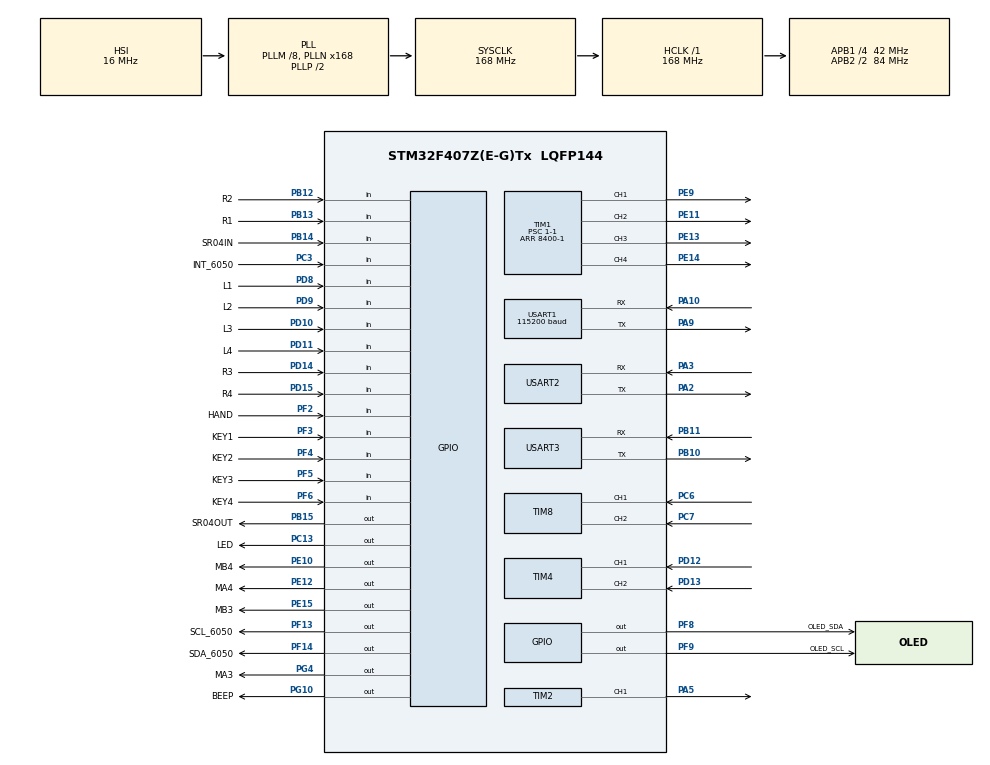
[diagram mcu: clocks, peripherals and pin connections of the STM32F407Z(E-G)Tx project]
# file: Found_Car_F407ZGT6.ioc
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Dma.Request0=TIM2_CH1
Dma.TIM2_CH1.0.Direction=DMA_MEMORY_TO_PERIPH
Dma.TIM2_CH1.0.FIFOMode=DMA_FIFOMODE_DISABLE
Dma.TIM2_CH1.0.Instance=DMA1_Stream5
Dma.TIM2_CH1.0.MemDataAlignment=DMA_MDATAALIGN_WORD
Dma.TIM2_CH1.0.MemInc=DMA_MINC_ENABLE
Dma.TIM2_CH1.0.Mode=DMA_CIRCULAR
Dma.TIM2_CH1.0.PeriphDataAlignment=DMA_PDATAALIGN_WORD
Dma.TIM2_CH1.0.PeriphInc=DMA_PINC_DISABLE
Dma.TIM2_CH1.0.Priority=DMA_PRIORITY_LOW
Mcu.Family=STM32F4
Mcu.Name=STM32F407Z(E-G)Tx
Mcu.Package=LQFP144
NVIC.DMA1_Stream5_IRQn=true\:0\:0\:false\:false\:true\:false\:true\:true
NVIC.PriorityGroup=NVIC_PRIORITYGROUP_4
NVIC.TIM8_TRG_COM_TIM14_IRQn=true\:2\:0\:true\:false\:true\:true\:true\:true
NVIC.TIM8_UP_TIM13_IRQn=true\:0\:0\:false\:false\:true\:true\:true\:true
NVIC.USART1_IRQn=true\:0\:0\:true\:false\:true\:true\:true\:true
NVIC.USART2_IRQn=true\:0\:0\:true\:false\:true\:true\:true\:true
NVIC.USART3_IRQn=true\:0\:0\:true\:false\:true\:true\:true\:true
PA10.Mode=Asynchronous
PA10.Signal=USART1_RX
PA13.Mode=JTAG_4_pins
PA13.Signal=SYS_JTMS-SWDIO
PA14.Mode=JTAG_4_pins
PA14.Signal=SYS_JTCK-SWCLK
PA15.Mode=JTAG_4_pins
PA15.Signal=SYS_JTDI
PA2.Mode=Asynchronous
PA2.Signal=USART2_TX
PA3.Mode=Asynchronous
PA3.Signal=USART2_RX
PA5.Signal=S_TIM2_CH1_ETR
PA9.Mode=Asynchronous
PA9.Signal=USART1_TX
PB10.Mode=Asynchronous
PB10.Signal=USART3_TX
PB11.Mode=Asynchronous
PB11.Signal=USART3_RX
PB12.GPIO_Label=R2
PB12.Signal=GPIO_Input
PB13.GPIO_Label=R1
PB13.Signal=GPIO_Input
PB14.GPIO_Label=SR04IN
PB14.GPIO_PuPd=GPIO_PULLUP
PB14.Signal=GPIO_Input
PB15.GPIO_Label=SR04OUT
PB15.GPIO_Speed=GPIO_SPEED_FREQ_VERY_HIGH
PB15.Signal=GPIO_Output
PB3.Mode=JTAG_4_pins
PB3.Signal=SYS_JTDO-SWO
PC13-ANTI_TAMP.GPIO_Label=LED
PC13-ANTI_TAMP.Signal=GPIO_Output
PC14-OSC32_IN.Mode=LSE-External-Oscillator
PC14-OSC32_IN.Signal=RCC_OSC32_IN
PC15-OSC32_OUT.Mode=LSE-External-Oscillator
PC15-OSC32_OUT.Signal=RCC_OSC32_OUT
PC3.GPIO_Label=INT_6050
PC3.Signal=GPIO_Input
PC6.Signal=S_TIM8_CH1
PC7.Signal=S_TIM8_CH2
PD10.GPIO_Label=L3
PD10.Signal=GPIO_Input
PD11.GPIO_Label=L4
PD11.Signal=GPIO_Input
PD12.Signal=S_TIM4_CH1
PD13.Signal=S_TIM4_CH2
PD14.GPIO_Label=R3
PD14.Signal=GPIO_Input
PD15.GPIO_Label=R4
PD15.Signal=GPIO_Input
PD8.GPIO_Label=L1
PD8.Signal=GPIO_Input
PD9.GPIO_Label=L2
PD9.Signal=GPIO_Input
PE10.GPIO_Label=MB4
PE10.GPIO_Speed=GPIO_SPEED_FREQ_VERY_HIGH
PE10.Signal=GPIO_Output
PE11.Signal=S_TIM1_CH2
PE12.GPIO_Label=MA4
PE12.GPIO_Speed=GPIO_SPEED_FREQ_VERY_HIGH
PE12.PinState=GPIO_PIN_SET
PE12.Signal=GPIO_Output
PE13.Signal=S_TIM1_CH3
PE14.Signal=S_TIM1_CH4
PE15.GPIO_Label=MB3
PE15.GPIO_Speed=GPIO_SPEED_FREQ_VERY_HIGH
PE15.PinState=GPIO_PIN_SET
PE15.Signal=GPIO_Output
PE9.Signal=S_TIM1_CH1
PF13.GPIO_Label=SCL_6050
PF13.GPIO_ModeDefaultOutputPP=GPIO_MODE_OUTPUT_OD
PF13.GPIO_PuPd=GPIO_PULLUP
PF13.GPIO_Speed=GPIO_SPEED_FREQ_VERY_HIGH
PF13.PinState=GPIO_PIN_SET
PF13.Signal=GPIO_Output
PF14.GPIO_Label=SDA_6050
PF14.GPIO_ModeDefaultOutputPP=GPIO_MODE_OUTPUT_OD
PF14.GPIO_PuPd=GPIO_PULLUP
PF14.GPIO_Speed=GPIO_SPEED_FREQ_VERY_HIGH
PF14.PinState=GPIO_PIN_SET
PF14.Signal=GPIO_Output
PF2.GPIO_Label=HAND
PF2.GPIO_PuPd=GPIO_NOPULL
PF2.Signal=GPIO_Input
PF3.GPIO_Label=KEY1
PF3.GPIO_PuPd=GPIO_PULLUP
PF3.Signal=GPIO_Input
PF4.GPIO_Label=KEY2
PF4.GPIO_PuPd=GPIO_PULLUP
PF4.Signal=GPIO_Input
PF5.GPIO_Label=KEY3
PF5.GPIO_PuPd=GPIO_PULLUP
PF5.Signal=GPIO_Input
PF6.GPIO_Label=KEY4
PF6.GPIO_PuPd=GPIO_PULLUP
PF6.Signal=GPIO_Input
PF8.GPIO_Label=OLED_SDA
PF8.GPIO_ModeDefaultOutputPP=GPIO_MODE_OUTPUT_OD
PF8.GPIO_PuPd=GPIO_PULLUP
PF8.GPIO_Speed=GPIO_SPEED_FREQ_VERY_HIGH
PF8.PinState=GPIO_PIN_SET
PF8.Signal=GPIO_Output
PF9.GPIO_Label=OLED_SCL
PF9.GPIO_ModeDefaultOutputPP=GPIO_MODE_OUTPUT_OD
PF9.GPIO_PuPd=GPIO_PULLUP
PF9.GPIO_Speed=GPIO_SPEED_FREQ_VERY_HIGH
PF9.PinState=GPIO_PIN_SET
PF9.Signal=GPIO_Output
PG10.GPIO_Label=BEEP
PG10.GPIO_Speed=GPIO_SPEED_FREQ_VERY_HIGH
PG10.Signal=GPIO_Output
PG4.GPIO_Label=MA3
PG4.Signal=GPIO_Output
PH0-OSC_IN.Mode=HSE-External-Oscillator
PH0-OSC_IN.Signal=RCC_OSC_IN
PH1-OSC_OUT.Mode=HSE-External-Oscillator
PH1-OSC_OUT.Signal=RCC_OSC_OUT
ProjectManager.HeapSize=0x200
ProjectManager.StackSize=0x400
ProjectManager.TargetToolchain=MDK-ARM V5.32
RCC.48MHZClocksFreq_Value=84000000
RCC.AHBFreq_Value=168000000
RCC.APB1CLKDivider=RCC_HCLK_DIV4
RCC.APB1Freq_Value=42000000
RCC.APB1TimFreq_Value=84000000
RCC.APB2CLKDivider=RCC_HCLK_DIV2
RCC.APB2Freq_Value=84000000
RCC.APB2TimFreq_Value=168000000
RCC.CortexFreq_Value=168000000
RCC.HCLKFreq_Value=168000000
RCC.HSE_VALUE=8000000
RCC.HSI_VALUE=16000000
RCC.PLLM=8
RCC.PLLN=168
RCC.SYSCLKFreq_VALUE=168000000
RCC.SYSCLKSource=RCC_SYSCLKSOURCE_PLLCLK
RCC.VCOOutputFreq_Value=336000000
SH.S_TIM1_CH1.0=TIM1_CH1,PWM Generation1 CH1
SH.S_TIM1_CH2.0=TIM1_CH2,PWM Generation2 CH2
SH.S_TIM1_CH3.0=TIM1_CH3,PWM Generation3 CH3
SH.S_TIM1_CH4.0=TIM1_CH4,PWM Generation4 CH4
SH.S_TIM2_CH1_ETR.0=TIM2_CH1,PWM Generation1 CH1
SH.S_TIM4_CH1.0=TIM4_CH1,Encoder_Interface
SH.S_TIM4_CH2.0=TIM4_CH2,Encoder_Interface
SH.S_TIM8_CH1.0=TIM8_CH1,Encoder_Interface
SH.S_TIM8_CH2.0=TIM8_CH2,Encoder_Interface
TIM1.AutoReloadPreload=TIM_AUTORELOAD_PRELOAD_DISABLE
TIM1.Channel-PWM\ Generation1\ CH1=TIM_CHANNEL_1
TIM1.Channel-PWM\ Generation2\ CH2=TIM_CHANNEL_2
TIM1.Channel-PWM\ Generation3\ CH3=TIM_CHANNEL_3
TIM1.Channel-PWM\ Generation4\ CH4=TIM_CHANNEL_4
TIM1.Period=8400-1
TIM1.Prescaler=1-1
TIM1.Pulse-PWM\ Generation1\ CH1=0
TIM1.Pulse-PWM\ Generation2\ CH2=0
TIM1.Pulse-PWM\ Generation3\ CH3=0
TIM1.Pulse-PWM\ Generation4\ CH4=0
TIM13.AutoReloadPreload=TIM_AUTORELOAD_PRELOAD_ENABLE
TIM13.Period=10-1
TIM13.Prescaler=84-1
TIM14.AutoReloadPreload=TIM_AUTORELOAD_PRELOAD_ENABLE
TIM14.Period=1000-1
TIM14.Prescaler=84-1
TIM2.Channel-PWM\ Generation1\ CH1=TIM_CHANNEL_1
TIM2.Period=105-1
TIM2.Prescaler=1-1
TIM2.Pulse-PWM\ Generation1\ CH1=84-1
TIM4.EncoderMode=TIM_ENCODERMODE_TI12
TIM4.IC1Filter=6
TIM4.IC2Filter=6
TIM8.EncoderMode=TIM_ENCODERMODE_TI12
TIM8.IC1Filter=6
TIM8.IC2Filter=6
USART1.BaudRate=115200
USART1.VirtualMode=VM_ASYNC
USART2.VirtualMode=VM_ASYNC
USART3.VirtualMode=VM_ASYNC
VP_TIM13_VS_ClockSourceINT.Mode=Enable_Timer
VP_TIM14_VS_ClockSourceINT.Mode=Enable_Timer
board=custom

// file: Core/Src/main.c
/* USER CODE BEGIN Header */
/**
 ******************************************************************************
 * @file           : main.c
 * @brief          : Main program body
 ******************************************************************************
 * @attention
 *
 * Copyright (c) 2023 STMicroelectronics.
 * All rights reserved.
 *
 * This software is licensed under terms that can be found in the LICENSE file
 * in the root directory of this software component.
 * If no LICENSE file comes with this software, it is provided AS-IS.
 *
 ******************************************************************************
 */
/* USER CODE END Header */
#include "main.h"
#include "dma.h"
#include "tim.h"
#include "usart.h"
#include "gpio.h"

/* USER CODE BEGIN Includes */
#include "blue.h"
#include "stdio.h"
#include <string.h>
#include "xunji.h"
#include "menu.h"
#include "oled.h"
#include "beep.h"
#include "key.h"
#include "my_uart.h"
#include "HMI.h"
#include "SU03T.h"
#include "SR04.h"
/* USER CODE END Includes */

/* USER CODE BEGIN PV */
extern short Encoder1Count; // 左电机编码器�???
extern short Encoder2Count; // 右电机编码器�???
extern int Start_Speed;     // 起始速度
extern uint8_t Usart1_ReadBuf[255];
extern uint8_t Usart1_ReadCount;
extern int speed; // 摇杆发�?��?�度�???
extern int SET1;  // 个位
extern int SET2;  // 十位
extern int SET3;  // 百位
extern int SET4;  // 千位
extern int target_val_2_read;
/* USER CODE END PV */

void SystemClock_Config(void);

/* USER CODE BEGIN 0 */
int Xunji_State = 0;     // 寻迹�??关，1为开始寻迹，0为关闭寻�??
int Stop_Num = 0;        // �??测是否到白线上，在白线上�??1
int Car_Back_number = 0; // 返回使能
int target_val_1 = 0;    // 1为最左，2为中间，3为最右
int target_val_2 = 0;    // 1为最左，2为中间，3为最右
int target_val_3 = 0;    // 1为最左，2为中间，3为最右
int Huidu_State = 0;     // 灰度传感器读取的值
int road = 1;            // 判断路过几个路口
int Left_Num = 0;        // 路口左转的次数
int Right_Num = 0;       // 路口右转的次数
int su_03_stop = 0;      // 语音控制是否回程
int SR04_Start = 0;
int SR04_End = 0;
double disa = 0.00;
int SR04_Open = 0;
int coins = 0;
int coin_need = 0;
int pay_open = 0;
int MEI_Num = 0;
int NAN_Num = 0;
int JIU_Num = 0;
int bizhang_num = 0;
int bizhang_num_2 = 0;
int bizhang_num_3 = 0;
/* USER CODE END 0 */

int main(void)
{

  /* MCU Configuration--------------------------------------------------------*/

  /* Reset of all peripherals, Initializes the Flash interface and the Systick. */
  HAL_Init();

  /* Configure the system clock */
  SystemClock_Config();

  /* Initialize all configured peripherals */
  MX_GPIO_Init();
  MX_DMA_Init();
  MX_TIM1_Init();
  MX_USART1_UART_Init();
  MX_USART2_UART_Init();
  MX_USART3_UART_Init();
  MX_TIM8_Init();
  MX_TIM14_Init();
  MX_TIM2_Init();
  MX_TIM4_Init();
  MX_TIM13_Init();
  /* USER CODE BEGIN 2 */
  HAL_TIM_Encoder_Start(&htim4, TIM_CHANNEL_ALL);
  HAL_TIM_Encoder_Start(&htim8, TIM_CHANNEL_ALL);   // 2路编码器使能
  OLED_Init();                                      // oled初始化
  PID_init();                                       // PID参数初始化
  HAL_UART_Receive_IT(&huart1, &USART1_RX_Data, 1); // 打开蓝牙接收中断
  HAL_UART_Receive_IT(&huart2, &USART2_RX_Data, 1); // 串口接受
  HAL_UART_Receive_IT(&huart3, &USART3_RX_Data, 1); // SU-03T
  HMI_Start();                                      // 串口屏回到开始界面
  HAL_TIM_PWM_Start(&htim1, TIM_CHANNEL_1);         // 定时器1 通道1 PWM输出
  HAL_TIM_PWM_Start(&htim1, TIM_CHANNEL_2);         // 定时器1 通道2 PWM输出
  HAL_TIM_PWM_Start(&htim1, TIM_CHANNEL_3);         // 定时器1 通道3 PWM输出
  HAL_TIM_PWM_Start(&htim1, TIM_CHANNEL_4);         // 定时器1 通道4 PWM输出

  HAL_TIM_Base_Start_IT(&htim13); // 定时器13的定时功能开定时1us
  HAL_TIM_Base_Start_IT(&htim14); // 定时器14的定时功能开定时1ms

  /* USER CODE END 2 */

  /* Infinite loop */
  /* USER CODE BEGIN WHILE */
  while (1)
  {

    SU03T_get();
    HMI_get(); // 获取去往地点
    Read_Hand();
    Xunji(Huidu_State); // 进行寻迹
    // printf("coins = %d\r\n", coin_need);
    //	printf("mainprintf Rightnum = %d\r\n",Right_Num);
    //  printf("%c%c%c%c%c%c", 0xAA, 0x55, 0x01, 0X2C, 0x55, 0xAA);
    //  HAL_Delay(500);
    if (SR04_Open == 1) // 距离获得
    {
      disa = SR04_Getdistance();
      SR04_Open = 0;
    }
    if (disa < 4) // 避障
    {
      if (Xunji_State == 1)
      {
				if(road == 2)
				{
				if(target_val_1 == 1)
				{
					Car_Road_Right(1100);
					Car_Go_Little(1500);
					Car_Road_Left(1200);
					Car_Go_Little(3450);
					Car_Road_Left(1100);
					Car_Go_Little(1300);
					Car_Road_Right(1050);
					Car_Go_Little(1500);
					Car_Road_Right(1050);//写死
					Right_Num++;
				}
					if(target_val_1 == 3)

					{
						if(bizhang_num == 0)
						{
							Car_Road_Right(1100);
							Car_Go_Little(1500);
							Car_Road_Left(1200);
							Car_Go_Little(3450);
							Car_Road_Left(1100);
							Car_Go_Little(1300);//1800
							Car_Road_Right(1050);
							Car_Stop();
							road = 3;
							HMI_print_achieve(3);
							JIU_Num = JIU_Num + 1;
							SU03T_arrive(3);
							if (target_val_2 != 0)
									{
											SU03T_Next_GO();
									}
									else
											SU03T_back();
									while (!su_03_stop)
									{
											SU03T_Go(); // 等待语音返回
									}
									su_03_stop = 0;
									 switch (target_val_2) // 前往第二个地点输出给串口屏
									{
									case 0:
											HMI_Back();
											break;
									case 1:
											HMI_print(1);
											SU03T_GO_meizhou();
											break;
									case 2:
											HMI_print(2);
											SU03T_GO_nanri();
											break;
									case 3:
											HMI_print(3);
											SU03T_GO_jiuli();
											break;
									default:
											break;
									}
									Car_Go_Little(1000);
									Car_Road_Left(2000);
									bizhang_num = 1;
							}
					}
				}
				if(road == 3)
				{
					if(target_val_1 == 3)
					{
						Car_Road_Right(1100);
						Car_Go_Little(1500);
						Car_Road_Left(1100);
						Car_Go_Little(3400);
						Car_Road_Left(1100);
						Car_Go_Little(1500);//1800
						Car_Road_Right(1050);
						HAL_Delay(20);
						Car_Go_Little(1100);
						Car_Road_Right(1050);
						Right_Num++;
					}
					else
					{
						Car_Road_Right(1100);
						Car_Go_Little(1500);
						Car_Road_Left(1200);
						Car_Go_Little(3200);
						Car_Road_Left(1100);
						Car_Go_Little(1200);//1800
						Car_Road_Right(1050);
					}
				}
						if(road == 4)
				{
						if(target_val_2 == 1)
					{
						Car_Road_Right(1100);
						Car_Go_Little(1500);
						Car_Road_Left(1200);
						Car_Go_Little(3450);
						Car_Road_Left(1100);
						Car_Go_Little(1300);
						Car_Road_Right(1050);
						Car_Go_Little(1500);
						Car_Road_Right(1050);//写死
						Right_Num++;
					}
					if(target_val_2 == 3)
					{
						if(bizhang_num_2 == 0)
						{
						Car_Road_Right(1100);
						Car_Go_Little(1500);
						Car_Road_Left(1200);
						Car_Go_Little(3450);
						Car_Road_Left(1100);
						Car_Go_Little(1300);
						Car_Road_Right(1050);//第一次避障
						Car_Stop();
						road = 5;
						HMI_print_achieve(3);
            JIU_Num = JIU_Num + 1;
            SU03T_arrive(3);
						if (target_val_3 != 0)
                {
                    SU03T_Next_GO();
                }
                else
                    SU03T_back();
                while (!su_03_stop)
                {
                    SU03T_Go(); // 等待语音返回
                }
                su_03_stop = 0;
								 switch (target_val_3) // 前往第二个地点输出给串口屏
                {
                case 0:
                    HMI_Back();
                    break;
                case 1:
                    HMI_print(1);
                    SU03T_GO_meizhou();
                    break;
                case 2:
                    HMI_print(2);
                    SU03T_GO_nanri();
                    break;
                case 3:
                    HMI_print(3);
                    SU03T_GO_jiuli();
                    break;
                default:
                    break;
                }
                 Car_Go_Little(1000);
                Car_Road_Left(2000);
								bizhang_num_2 = 1;
						}
					}
				}
				if(road == 5)
				{

					if(target_val_2 == 3)
					{
						Car_Road_Right(1100);
						Car_Go_Little(1500);
						Car_Road_Left(1100);
						Car_Go_Little(3400);
						Car_Road_Left(1100);
						Car_Go_Little(1500);
						Car_Road_Right(1050);
						HAL_Delay(20);
						Car_Go_Little(1100);
						Car_Road_Right(1050);//写死
						Right_Num++;
					}
					else
					{
						Car_Road_Right(1100);
						Car_Go_Little(1500);
						Car_Road_Left(1200);
						Car_Go_Little(3200);
						Car_Road_Left(1100);
						Car_Go_Little(1200);
						Car_Road_Right(1050);
					}
				}
						if(road == 6)
				{
					if(target_val_3 == 1)
					{
						Car_Road_Right(1100);
						Car_Go_Little(1500);
						Car_Road_Left(1200);
						Car_Go_Little(3450);
						Car_Road_Left(1100);
						Car_Go_Little(1300);
						Car_Road_Right(1050);
						Car_Go_Little(1500);
						Car_Road_Right(1050);//写死
						Right_Num++;
					}
					if(target_val_3 == 3)
					{
						if(bizhang_num_3 == 0)
						{
							Car_Road_Right(1100);
							Car_Go_Little(1500);
							Car_Road_Left(1200);
							Car_Go_Little(3200);
							Car_Road_Left(1100);
							Car_Go_Little(1300);
							Car_Road_Right(1050);
							Car_Stop();
							road = 7;
							HMI_print_achieve(3);
							JIU_Num = JIU_Num + 1;
							SU03T_arrive(3);
							if (target_val_3 != 0)
									{
											SU03T_Next_GO();
									}
									else
											SU03T_back();
									while (!su_03_stop)
									{
											SU03T_Go(); // 等待语音返回
									}
									su_03_stop = 0;
									 switch (target_val_3) // 前往第二个地点输出给串口屏
									{
									case 0:
											HMI_Back();
											break;
									case 1:
											HMI_print(1);
											SU03T_GO_meizhou();
											break;
									case 2:
											HMI_print(2);
											SU03T_GO_nanri();
											break;
									case 3:
											HMI_print(3);
											SU03T_GO_jiuli();
											break;
									default:
											break;
									}
									Car_Go_Little(1000);
									Car_Road_Left(2000);
									bizhang_num_3 = 1;
							}

					}

				}
				if(road == 7)
				{

					if(target_val_3 == 3)
					{
						Car_Road_Right(1100);
						Car_Go_Little(1500);
						Car_Road_Left(1100);
						Car_Go_Little(3400);
						Car_Road_Left(1100);
						Car_Go_Little(1500);//1800
						Car_Road_Right(1050);
						HAL_Delay(20);
						 Car_Go_Little(1100);
						Car_Road_Right(1050);
						Right_Num++;
					}
					else
					{
						Car_Road_Right(1100);
						Car_Go_Little(1500);
						Car_Road_Left(1200);
						Car_Go_Little(3200);
						Car_Road_Left(1100);
						Car_Go_Little(1250);//1800
						Car_Road_Right(1050);
					}
				}
      }

	}
//	 if (Read_Key() == 1)
//	 {
//		 SU03T_arrive(3);
//	 }
    if (Read_Key() == 4)
    {

      if (coin_need <= coins)
      {
        pay_open = 0;
        switch (road)
        {
        case 1:
          switch (target_val_1)
          {
          case 1:
            HMI_print(1);
            SU03T_GO_meizhou();
            Xunji_State = 1;
            break;
          case 2:
            HMI_print(2);
            SU03T_GO_nanri();
            Xunji_State = 1;
            break;
          case 3:
            HMI_print(3);
            SU03T_GO_jiuli();
            Xunji_State = 1;
            break;
          default:
            break;
          }
          break;
        case 2:
          switch (target_val_1)
          {
          case 1:
            HMI_print(1);
            Xunji_State = 1;
            break;
          case 2:
            HMI_print(2);
            Xunji_State = 1;
            break;
          case 3:
            HMI_print(3);
            Xunji_State = 1;
            break;
          default:
            break;
          }
          break;
        case 3:
          switch (target_val_2)
          {
          case 1:
            HMI_print(1);
            SU03T_GO_meizhou();
            Xunji_State = 1;
            break;
          case 2:
            HMI_print(2);
            SU03T_GO_nanri();
            Xunji_State = 1;
            break;
          case 3:
            HMI_print(3);
            SU03T_GO_jiuli();
            Xunji_State = 1;
            break;
          default:
            break;
          }
          break;
        case 4:
          switch (target_val_2)
          {
          case 1:
            HMI_print(1);
            Xunji_State = 1;
            break;
          case 2:
            HMI_print(2);
            Xunji_State = 1;
            break;
          case 3:
            HMI_print(3);
            Xunji_State = 1;
            break;
          default:
            break;
          }
          break;
        case 5:

        case 6:
          switch (target_val_3)
          {
          case 1:
            HMI_print(1);
            SU03T_GO_meizhou();
            Xunji_State = 1;
            break;
          case 2:
            HMI_print(2);
            SU03T_GO_nanri();
            Xunji_State = 1;
            break;
          case 3:
            HMI_print(3);
            SU03T_GO_jiuli();
            Xunji_State = 1;
            break;
          default:
            break;
          }
        default:
          // Xunji_State = 1;
          break;
        }
      }
      else
        LED_text; // 语音播报钱不够
    }
    /* USER CODE END WHILE */

  }
}

void SystemClock_Config(void)
{
  RCC_OscInitTypeDef RCC_OscInitStruct = {0};
  RCC_ClkInitTypeDef RCC_ClkInitStruct = {0};

  /** Configure the main internal regulator output voltage
   */
  __HAL_RCC_PWR_CLK_ENABLE();
  __HAL_PWR_VOLTAGESCALING_CONFIG(PWR_REGULATOR_VOLTAGE_SCALE1);

  /** Initializes the RCC Oscillators according to the specified parameters
   * in the RCC_OscInitTypeDef structure.
   */
  RCC_OscInitStruct.OscillatorType = RCC_OSCILLATORTYPE_HSI;
  RCC_OscInitStruct.HSIState = RCC_HSI_ON;
  RCC_OscInitStruct.HSICalibrationValue = RCC_HSICALIBRATION_DEFAULT;
  RCC_OscInitStruct.PLL.PLLState = RCC_PLL_ON;
  RCC_OscInitStruct.PLL.PLLSource = RCC_PLLSOURCE_HSI;
  RCC_OscInitStruct.PLL.PLLM = 8;
  RCC_OscInitStruct.PLL.PLLN = 168;
  RCC_OscInitStruct.PLL.PLLP = RCC_PLLP_DIV2;
  RCC_OscInitStruct.PLL.PLLQ = 4;
  if (HAL_RCC_OscConfig(&RCC_OscInitStruct) != HAL_OK)
  {
    Error_Handler();
  }

  /** Initializes the CPU, AHB and APB buses clocks
   */
  RCC_ClkInitStruct.ClockType = RCC_CLOCKTYPE_HCLK | RCC_CLOCKTYPE_SYSCLK | RCC_CLOCKTYPE_PCLK1 | RCC_CLOCKTYPE_PCLK2;
  RCC_ClkInitStruct.SYSCLKSource = RCC_SYSCLKSOURCE_PLLCLK;
  RCC_ClkInitStruct.AHBCLKDivider = RCC_SYSCLK_DIV1;
  RCC_ClkInitStruct.APB1CLKDivider = RCC_HCLK_DIV4;
  RCC_ClkInitStruct.APB2CLKDivider = RCC_HCLK_DIV2;

  if (HAL_RCC_ClockConfig(&RCC_ClkInitStruct, FLASH_LATENCY_5) != HAL_OK)
  {
    Error_Handler();
  }
}

void Error_Handler(void)
{
  __disable_irq();
  while (1)
  {
  }
}
